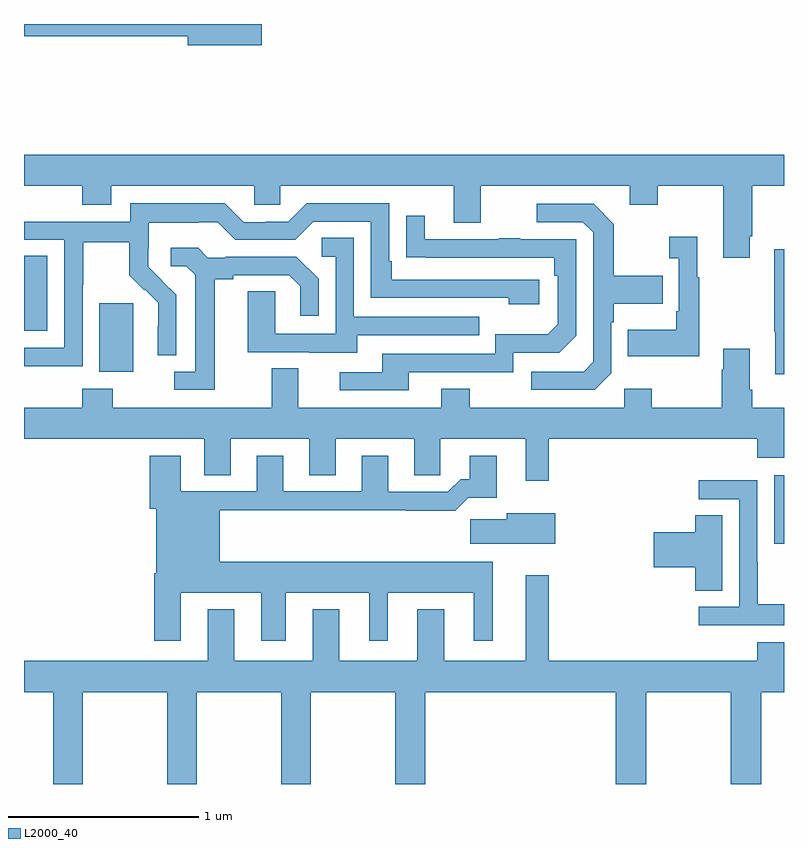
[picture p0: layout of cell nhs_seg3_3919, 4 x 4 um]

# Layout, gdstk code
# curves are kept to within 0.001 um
import gdstk
lib = gdstk.Library(unit=1e-6, precision=1e-09)
def R(c, l, rs):  # rectangles x0, y0, x1, y1
    for r in rs: c.add(gdstk.rectangle(r[:2], r[2:], *l))
def P(c, l, *ps):  # polygons
    for p in ps: c.add(gdstk.Polygon(p, *l))
L2000_40 = (2000, 40)

nhs_seg3_3919 = lib.new_cell('nhs_seg3_3919')
R(nhs_seg3_3919, L2000_40, [(316.949,733.665,317,734.026), (313.397,734.57,313.576,734.931), (313,734.786,313.123,735.179)])
P(nhs_seg3_3919, L2000_40, [(314.251,736.4),(313,736.4),(313,736.336),(313.862,736.336),(313.862,736.289),(314.251,736.289)],
  [(316.819,735.283),(316.832,735.283),(316.832,735.548),(317,735.548),(317,735.712),(313,735.712),(313,735.548),(313.307,735.548),(313.307,735.449),(313.459,735.449),(313.459,735.548),(314.211,735.548),(314.211,735.45),(314.349,735.45),(314.349,735.548),(315.263,735.548),(315.263,735.354),(315.403,735.354),(315.403,735.548),(316.187,735.548),(316.187,735.449),(316.335,735.449),(316.335,735.548),(316.679,735.548),(316.679,735.171),(316.819,735.171)],
  [(313.308,735.028),(313.311,735.028),(313.311,735.252),(313.555,735.252),(313.555,735.077),(313.632,735),(313.635,735.003),(313.706,734.933),(313.706,734.81),(313.704,734.81),(313.704,734.656),(313.8,734.656),(313.8,734.974),(313.654,735.122),(313.654,735.219),(313.656,735.219),(313.656,735.353),(313.919,735.353),(313.919,735.357),(314.019,735.357),(314.112,735.264),(314.427,735.264),(314.523,735.36),(314.826,735.36),(314.826,734.958),(315.551,734.958),(315.551,734.924),(315.712,734.924),(315.712,735.054),(314.935,735.054),(314.935,735.151),(314.922,735.151),(314.922,735.456),(314.487,735.456),(314.391,735.36),(314.273,735.36),(314.273,735.357),(314.157,735.357),(314.057,735.457),(313.56,735.457),(313.56,735.36),(313,735.36),(313,735.264),(313.212,735.264),(313.212,734.697),(313,734.697),(313,734.599),(313.308,734.599)],
  [(316.092,734.562),(316.092,734.831),(316.105,734.831),(316.105,734.927),(316.361,734.927),(316.361,735.075),(316.105,735.075),(316.105,735.347),(315.999,735.453),(315.699,735.453),(315.699,735.357),(315.942,735.357),(315.996,735.303),(315.996,734.622),(315.945,734.571),(315.669,734.571),(315.669,734.475),(316.005,734.475)],
  [(315.025,734.568),(315.576,734.568),(315.576,734.67),(315.816,734.67),(315.906,734.76),(315.906,735.267),(315.611,735.267),(315.611,735.272),(315.499,735.272),(315.499,735.267),(315.109,735.267),(315.109,735.391),(315.013,735.391),(315.013,735.172),(315.79,735.171),(315.79,735.074),(315.81,735.074),(315.81,734.82),(315.757,734.767),(315.48,734.767),(315.48,734.664),(314.885,734.664),(314.885,734.568),(314.661,734.568),(314.661,734.472),(315.025,734.472)],
  [(316.555,735.067),(316.543,735.067),(316.543,735.28),(316.395,735.28),(316.395,735.167),(316.446,735.167),(316.446,734.887),(316.434,734.887),(316.434,734.791),(316.177,734.791),(316.177,734.651),(316.555,734.651)],
  [(314.755,734.763),(315.395,734.763),(315.395,734.859),(314.736,734.859),(314.736,735.275),(314.568,735.275),(314.568,735.174),(314.64,735.174),(314.64,734.769),(314.322,734.769),(314.322,734.993),(314.177,734.993),(314.177,734.673),(314.501,734.673),(314.501,734.669),(314.755,734.669)],
  [(314.005,735.056),(314.101,735.056),(314.101,735.078),(314.396,735.078),(314.453,735.021),(314.453,734.865),(314.55,734.865),(314.55,735.058),(314.434,735.174),(314.062,735.174),(314.062,735.171),(313.968,735.171),(313.916,735.223),(313.773,735.223),(313.773,735.126),(313.854,735.126),(313.901,735.079),(313.901,734.571),(313.791,734.571),(313.791,734.475),(314.005,734.475)],
  [(317,735.214),(316.948,735.214),(316.948,734.779),(316.955,734.779),(316.955,734.556),(317,734.556)],
  [(315.763,734.216),(316.859,734.216),(316.859,734.117),(317,734.117),(317,734.38),(316.832,734.38),(316.832,734.476),(316.819,734.476),(316.819,734.692),(316.679,734.692),(316.679,734.579),(316.672,734.579),(316.672,734.38),(316.305,734.38),(316.305,734.479),(316.158,734.479),(316.158,734.38),(315.345,734.38),(315.345,734.479),(315.197,734.479),(315.197,734.38),(314.443,734.38),(314.443,734.588),(314.303,734.588),(314.303,734.38),(313.467,734.38),(313.467,734.479),(313.307,734.479),(313.307,734.38),(313,734.38),(313,734.216),(313.949,734.216),(313.949,734.026),(314.089,734.026),(314.089,734.216),(314.501,734.216),(314.501,734.026),(314.641,734.026),(314.641,734.216),(315.053,734.216),(315.053,734.026),(315.192,734.026),(315.192,734.216),(315.641,734.216),(315.641,733.995),(315.763,733.995)],
  [(313.825,733.406),(314.249,733.406),(314.249,733.155),(314.377,733.155),(314.377,733.406),(314.816,733.406),(314.816,733.155),(314.914,733.155),(314.914,733.406),(315.368,733.406),(315.368,733.155),(315.466,733.155),(315.466,733.57),(314.029,733.57),(314.029,733.84),(315.013,733.84),(315.013,733.838),(315.269,733.838),(315.338,733.907),(315.487,733.907),(315.487,734.128),(315.347,734.128),(315.347,734.005),(315.298,734.005),(315.231,733.938),(314.917,733.938),(314.917,734.128),(314.777,734.128),(314.777,733.941),(314.365,733.941),(314.365,734.128),(314.225,734.128),(314.225,733.941),(313.825,733.941),(313.825,734.128),(313.661,734.128),(313.661,733.848),(313.697,733.848),(313.697,733.51),(313.685,733.51),(313.685,733.155),(313.825,733.155)],
  [(317,733.345),(316.863,733.345),(316.863,733.568),(316.86,733.568),(316.86,733.998),(316.551,733.998),(316.551,733.899),(316.764,733.899),(316.764,733.332),(316.551,733.332),(316.551,733.236),(317,733.236)],
  [(315.796,733.825),(315.542,733.825),(315.542,733.793),(315.348,733.793),(315.348,733.664),(315.796,733.664)],
  [(316.675,733.814),(316.532,733.814),(316.532,733.724),(316.314,733.724),(316.314,733.541),(316.532,733.541),(316.532,733.417),(316.675,733.417)],
  [(313.308,732.884),(313.753,732.884),(313.753,732.4),(313.908,732.4),(313.908,732.884),(314.353,732.884),(314.353,732.4),(314.508,732.4),(314.508,732.884),(314.953,732.884),(314.953,732.4),(315.113,732.4),(315.113,732.884),(316.115,732.884),(316.115,732.4),(316.275,732.4),(316.275,732.884),(316.72,732.884),(316.72,732.4),(316.88,732.4),(316.88,732.884),(317,732.884),(317,733.147),(316.859,733.147),(316.859,733.048),(315.763,733.048),(315.763,733.498),(315.641,733.498),(315.641,733.048),(315.211,733.048),(315.211,733.321),(315.071,733.321),(315.071,733.048),(314.659,733.048),(314.659,733.321),(314.519,733.321),(314.519,733.048),(314.107,733.048),(314.107,733.321),(313.967,733.321),(313.967,733.048),(313,733.048),(313,732.884),(313.153,732.884),(313.153,732.4),(313.308,732.4)])

lib.write_gds('nhs_seg3_3919.gds')
